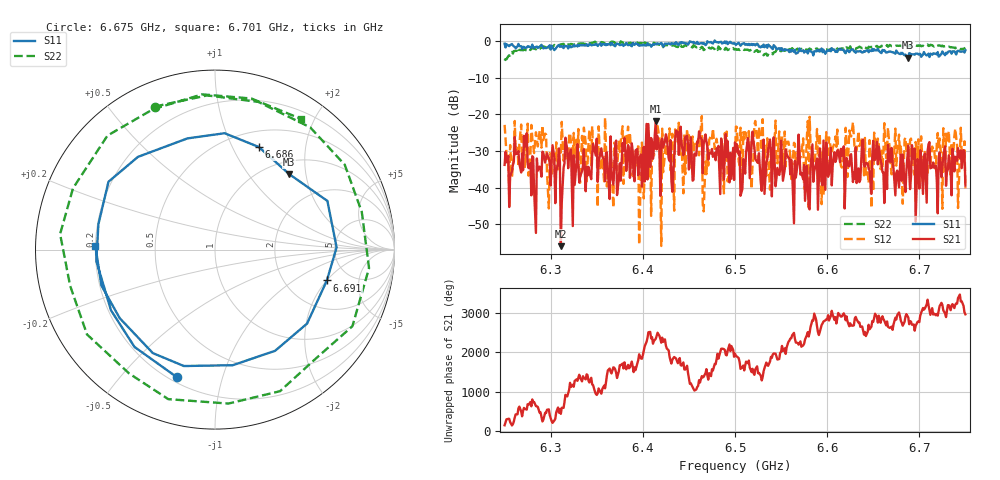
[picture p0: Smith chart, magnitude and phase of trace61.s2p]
# Hz S RI R 50
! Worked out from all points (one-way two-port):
!   401 points, 6.25 GHz to 6.75 GHz, reference 50 ohm
!   highest |S21| = -21.89 dB at 6.414 GHz (marker M1); lowest = -56.0 dB at 6.311 GHz (marker M2)
!   lowest |S11| = -4.6 dB at 6.688 GHz (marker M3), VSWR 3.88, Z = 62.6 + j80.8 ohm
!   |S11| at or under -10 dB: nowhere
!   |S22| runs from -5.4 to -0.1 dB; largest |S21 - S12| = 0.11
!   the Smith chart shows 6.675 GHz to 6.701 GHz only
!   S11 on the Smith chart (normalised r, x): 6.675 GHz: 0.23, -0.72; 6.686 GHz: 0.68, +1.27; 6.691 GHz: 3.40, -2.01; 6.701 GHz: 0.20, +0.02
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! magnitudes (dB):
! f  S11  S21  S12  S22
! 6.25 GHz  -0.7  -33.8  -22.9  -5.4
! 6.256 GHz  -1.1  -36.9  -28.4  -4.0
! 6.271 GHz  -1.6  -25.9  -26.6  -2.4
! 6.281 GHz  -1.7  -31.7  -28.5  -2.0
! 6.294 GHz  -1.9  -33.2  -25.3  -1.6
! 6.299 GHz  -1.2  -33.0  -30.6  -2.0
! 6.311 GHz  -1.4  -56.0  -31.1  -0.9
! 6.334 GHz  -1.2  -35.5  -25.9  -0.7
! 6.384 GHz  -1.2  -28.4  -23.3  -0.5
! 6.399 GHz  -1.2  -39.7  -27.7  -1.3
! 6.414 GHz  -0.8  -21.9  -28.0  -0.8
! 6.418 GHz  -0.9  -29.7  -26.5  -1.0
! 6.468 GHz  -1.1  -25.5  -32.9  -2.1
! 6.5 GHz  -0.7  -27.7  -32.2  -2.3
! 6.584 GHz  -3.1  -28.2  -30.3  -2.2
! 6.668 GHz  -2.8  -32.9  -29.9  -1.1
! 6.675 GHz  -2.6  -36.0  -34.0  -1.3
! 6.686 GHz  -4.1  -35.2  -30.5  -1.2
! 6.688 GHz  -4.6  -28.5  -27.8  -1.3
! 6.691 GHz  -3.8  -36.9  -26.6  -1.4
! 6.701 GHz  -3.5  -29.8  -31.9  -1.2
! 6.75 GHz  -2.6  -39.5  -40.2  -1.9
